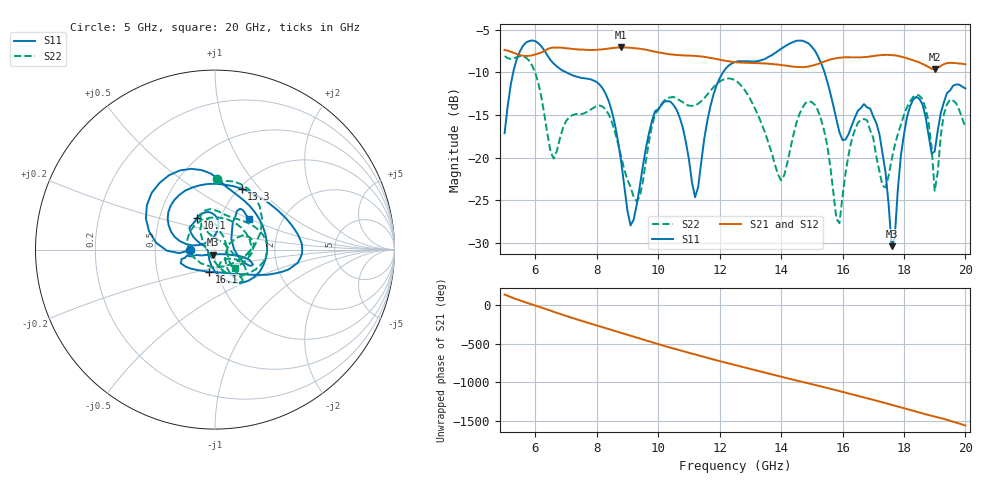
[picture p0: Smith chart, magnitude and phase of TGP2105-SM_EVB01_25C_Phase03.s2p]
! Date: Wednesday, June 05, 2013  1:49 PM
! Filename: C:\Data\Mike_Arnold\TGP2105-SM\Over_Temp\TGP2105-SM_EVB01_25C_Phase3.s2p
! Comments:
!^VDC(V):5.000
!^VDC(mA):0.032
!%Freq(GHz),S11(dB),S11(ang),S21(dB),S21(ang),S12(dB),S12(ang),S22(dB),S22(ang)
# GHz  S  DB  R  50
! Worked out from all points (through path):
!   151 points, 5 GHz to 20 GHz, reference 50 ohm
!   highest |S21| = -7.06 dB at 8.8 GHz (marker M1); lowest = -9.6 dB at 19 GHz (marker M2)
!   lowest |S11| = -30.4 dB at 17.6 GHz (marker M3), VSWR 1.06, Z = 48.7 - j2.68 ohm
!   |S11| at or under -10 dB: start of sweep to 5.28 GHz; 7.01 GHz to 12.11 GHz (5.1 GHz wide, 53.3 % of centre); 15.42 GHz to end of sweep
!   |S22| runs from -27.7 to -8.1 dB; largest |S21 - S12| = 0.0021
!   S11 on the Smith chart (normalised r, x): 5 GHz: 0.76, -0.01; 10.1 GHz: 0.77, +0.29; 13.3 GHz: 1.03, +0.81; 16.1 GHz: 0.91, -0.23; 20 GHz: 1.36, +0.50
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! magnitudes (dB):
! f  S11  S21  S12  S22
! 5 GHz  -17.1  -7.4  -7.4  -8.1
! 5.7 GHz  -6.5  -8.1  -8.1  -8.3
! 6.6 GHz  -9.0  -7.1  -7.1  -20.1
! 7.5 GHz  -10.6  -7.3  -7.4  -14.9
! 8.8 GHz  -20.6  -7.1  -7.1  -20.0
! 9.1 GHz  -28.0  -7.1  -7.1  -23.5
! 10 GHz  -14.3  -7.6  -7.7  -14.4
! 10.1 GHz  -13.8  -7.7  -7.7  -13.8
! 11.2 GHz  -24.7  -8.1  -8.1  -13.9
! 12.5 GHz  -8.8  -8.8  -8.8  -10.9
! 13.3 GHz  -8.6  -8.9  -8.9  -15.4
! 14 GHz  -7.2  -9.1  -9.1  -22.7
! 15 GHz  -7.0  -9.2  -9.2  -13.5
! 15.8 GHz  -15.5  -8.3  -8.3  -27.2
! 16.1 GHz  -17.9  -8.2  -8.3  -21.8
! 16.9 GHz  -14.2  -8.1  -8.2  -16.8
! 17.5 GHz  -25.5  -7.9  -8.0  -22.1
! 17.6 GHz  -30.4  -8.0  -8.0  -20.2
! 18.2 GHz  -14.0  -8.4  -8.5  -13.4
! 19 GHz  -19.3  -9.6  -9.7  -23.9
! 19.4 GHz  -12.4  -8.9  -8.9  -13.8
! 20 GHz  -11.9  -9.1  -9.1  -16.5
